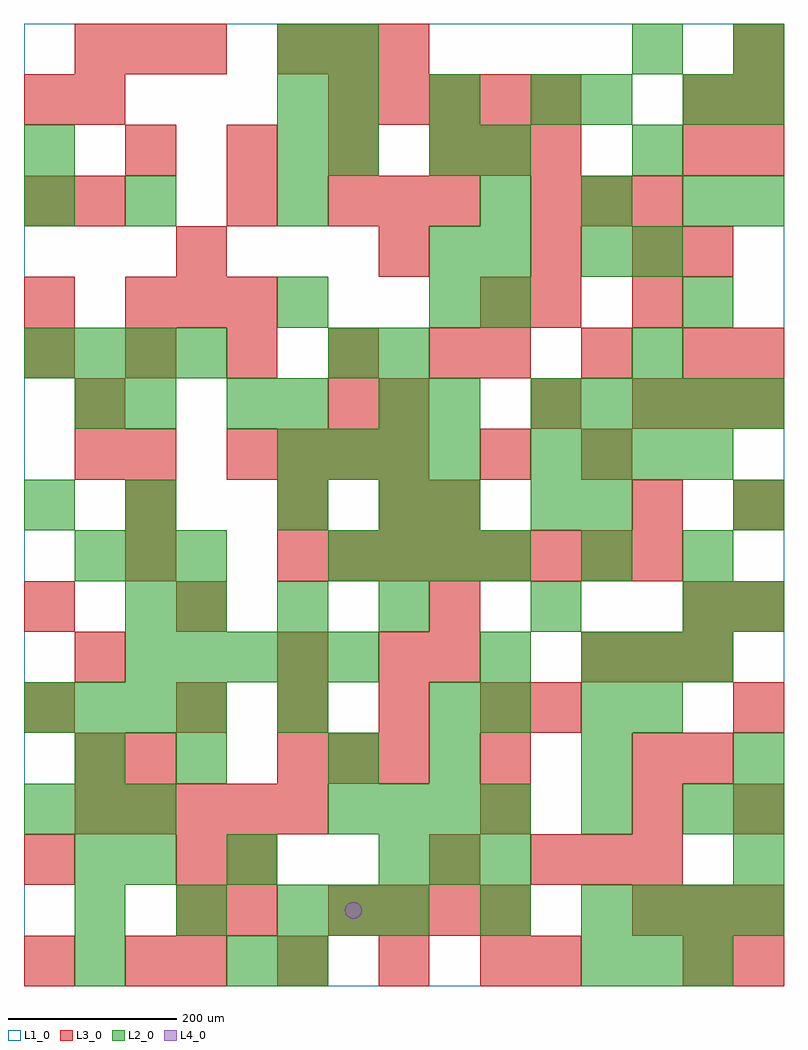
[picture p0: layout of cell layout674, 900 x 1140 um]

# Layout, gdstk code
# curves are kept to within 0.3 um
import gdstk
lib = gdstk.Library(unit=1e-6, precision=1e-09)
def R(c, l, rs):  # rectangles x0, y0, x1, y1
    for r in rs: c.add(gdstk.rectangle(r[:2], r[2:], *l))
def A(c, l, x, y, w, h, nx, ny, dx, dy):  # array of equal rectangles
    R(c, l, [(x+i*dx, y+j*dy, x+i*dx+w, y+j*dy+h) for i in range(nx) for j in range(ny)])
def P(c, l, *ps):  # polygons
    for p in ps: c.add(gdstk.Polygon(p, *l))
L1_0 = (1, 0)
L2_0 = (2, 0)
L3_0 = (3, 0)
L4_0 = (4, 0)

layout674 = lib.new_cell('layout674')
R(layout674, L1_0, [(0,0,900,1140)])
A(layout674, L2_0, 60, 0, 60, 60, 1, 3, 0, 120)
A(layout674, L2_0, 660, 0, 60, 60, 3, 2, 60, 360)
A(layout674, L2_0, 60, 60, 60, 60, 3, 1, 120, 0)
A(layout674, L2_0, 420, 60, 60, 60, 3, 1, 120, 0)
A(layout674, L2_0, 720, 60, 60, 60, 3, 1, 60, 0)
A(layout674, L2_0, 420, 120, 60, 60, 3, 1, 60, 0)
A(layout674, L2_0, 0, 180, 60, 60, 3, 1, 60, 0)
A(layout674, L2_0, 360, 180, 60, 60, 4, 2, 60, 300)
A(layout674, L2_0, 480, 240, 60, 60, 3, 1, 180, 0)
A(layout674, L2_0, 0, 300, 60, 60, 4, 2, 60, 420)
A(layout674, L2_0, 120, 360, 60, 60, 5, 1, 60, 0)
A(layout674, L2_0, 120, 420, 60, 60, 1, 3, 0, 120)
A(layout674, L2_0, 180, 420, 60, 60, 3, 1, 120, 0)
A(layout674, L2_0, 60, 480, 60, 60, 3, 1, 60, 0)
A(layout674, L2_0, 300, 540, 60, 60, 1, 4, 0, 120)
A(layout674, L2_0, 480, 540, 60, 60, 1, 3, 0, 120)
A(layout674, L2_0, 300, 600, 60, 60, 4, 1, 60, 0)
A(layout674, L2_0, 600, 600, 60, 60, 4, 1, 60, 0)
A(layout674, L2_0, 600, 660, 60, 60, 5, 1, 60, 0)
A(layout674, L2_0, 720, 720, 60, 60, 1, 4, 0, 120)
A(layout674, L2_0, 540, 900, 60, 60, 3, 1, 120, 0)
A(layout674, L2_0, 300, 960, 60, 60, 1, 3, 0, 60)
A(layout674, L2_0, 360, 1020, 60, 60, 3, 1, 120, 0)
R(layout674, L2_0, [(240,0,300,60), (300,0,360,60), (360,60,420,120), (120,120,180,180), (240,120,300,180), (840,120,900,180), (660,180,720,240), (780,180,840,240), (840,180,900,240), (180,240,240,300), (360,240,420,300), (300,300,360,360), (480,300,540,360), (540,300,600,360), (660,300,720,360), (720,300,780,360), (540,360,600,420), (600,420,660,480), (780,420,840,480), (840,420,900,480), (660,480,720,540), (780,480,840,540), (0,540,60,600), (420,540,480,600), (600,540,660,600), (660,540,720,600), (840,540,900,600), (60,660,120,720), (240,660,300,720), (420,660,480,720), (360,720,420,780), (420,720,480,780), (540,780,600,840), (780,780,840,840), (480,840,540,900), (540,840,600,900), (660,840,720,900), (0,900,60,960), (120,900,180,960), (840,900,900,960), (0,960,60,1020), (360,960,420,1020), (480,960,540,1020), (540,960,600,1020), (660,1020,720,1080), (780,1020,840,1080), (840,1020,900,1080), (360,1080,420,1140), (840,1080,900,1140)])
A(layout674, L3_0, 120, 0, 60, 60, 1, 3, 0, 240)
A(layout674, L3_0, 180, 0, 60, 60, 4, 2, 120, 300)
A(layout674, L3_0, 360, 60, 60, 60, 4, 1, 60, 0)
A(layout674, L3_0, 720, 60, 60, 60, 3, 2, 60, 600)
A(layout674, L3_0, 600, 120, 60, 60, 3, 2, 60, 780)
A(layout674, L3_0, 60, 180, 60, 60, 5, 1, 60, 0)
A(layout674, L3_0, 840, 180, 60, 60, 1, 4, 0, 120)
A(layout674, L3_0, 300, 240, 60, 60, 3, 2, 60, 840)
A(layout674, L3_0, 660, 360, 60, 60, 3, 1, 60, 0)
A(layout674, L3_0, 180, 420, 60, 60, 3, 1, 300, 0)
A(layout674, L3_0, 300, 480, 60, 60, 8, 1, 60, 0)
A(layout674, L3_0, 240, 600, 60, 60, 4, 1, 60, 0)
A(layout674, L3_0, 540, 600, 60, 60, 1, 3, 0, 180)
A(layout674, L3_0, 0, 720, 60, 60, 5, 1, 120, 0)
A(layout674, L3_0, 540, 720, 60, 60, 3, 1, 120, 0)
A(layout674, L3_0, 0, 780, 60, 60, 1, 3, 0, 120)
A(layout674, L3_0, 120, 780, 60, 60, 3, 1, 60, 0)
A(layout674, L3_0, 360, 900, 60, 60, 3, 1, 60, 0)
A(layout674, L3_0, 120, 960, 60, 60, 4, 1, 120, 0)
A(layout674, L3_0, 840, 960, 60, 60, 1, 3, 0, 60)
A(layout674, L3_0, 360, 1020, 60, 60, 5, 1, 60, 0)
A(layout674, L3_0, 60, 1080, 60, 60, 3, 1, 60, 0)
R(layout674, L3_0, [(0,0,60,60), (600,0,660,60), (780,0,840,60), (840,0,900,60), (180,60,240,120), (240,60,300,120), (0,120,60,180), (180,120,240,180), (240,120,300,180), (480,120,540,180), (540,180,600,240), (720,180,780,240), (60,240,120,300), (540,240,600,300), (720,240,780,300), (780,240,840,300), (0,300,60,360), (600,300,660,360), (60,360,120,420), (300,360,360,420), (420,360,480,420), (480,360,540,420), (0,420,60,480), (120,540,180,600), (300,540,360,600), (420,540,480,600), (480,540,540,600), (720,540,780,600), (60,600,120,660), (120,600,180,660), (660,600,720,660), (60,660,120,720), (360,660,420,720), (420,660,480,720), (600,660,660,720), (840,720,900,780), (600,780,660,840), (720,780,780,840), (180,840,240,900), (420,840,480,900), (600,840,660,900), (720,840,780,900), (780,840,840,900), (60,900,120,960), (240,900,300,960), (600,960,660,1020), (780,960,840,1020), (60,1020,120,1080), (780,1020,840,1080)])
P(layout674, L4_0, [(400,90),(399.239,93.827),(397.071,97.071),(393.827,99.239),(390,100),(386.173,99.239),(382.929,97.071),(380.761,93.827),(380,90),(380.761,86.173),(382.929,82.929),(386.173,80.761),(390,80),(393.827,80.761),(397.071,82.929),(399.239,86.173)])

lib.write_gds('layout674.gds')
